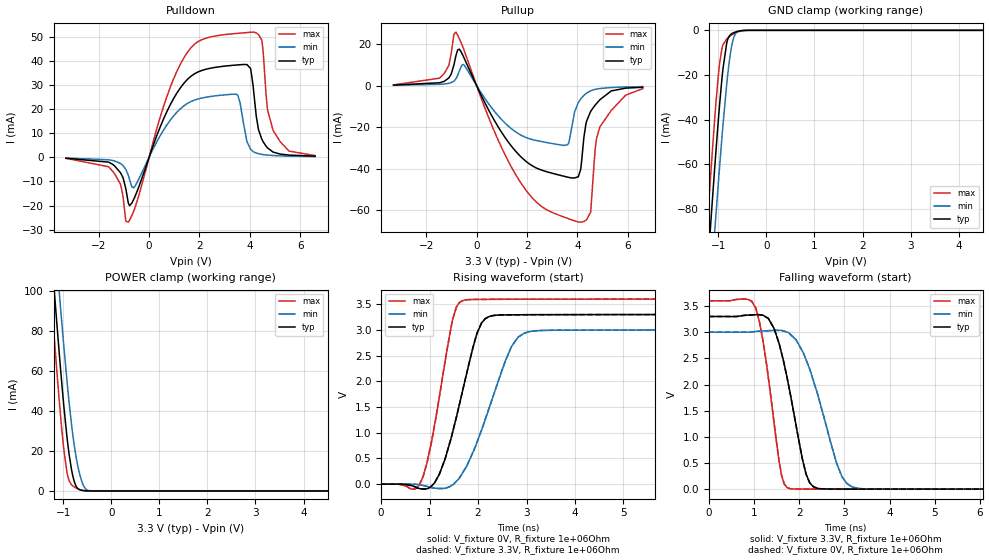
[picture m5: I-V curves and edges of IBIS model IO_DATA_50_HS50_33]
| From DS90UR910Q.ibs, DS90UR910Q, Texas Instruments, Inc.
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|   Model IO_DATA_50_HS50_33
[Model]  IO_DATA_50_HS50_33
Model_type   I/O
Polarity   Non-Inverting
Enable   Active-Low
Vinl =   0.8
Vinh =   2.0
Vmeas = 1.5000V
|   typ   min   max
|   (nom)   (fast)   (slow)
C_comp   0.7658pF   0.7658pF   1.107pF|
[Temperature Range]   25.0000   105.000   -40.0000
[Voltage Range]   3.3000V   3.0000V   3.6000V
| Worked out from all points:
|   slope of the pulldown table from 0 to 0.495 V, typ, clamps not added: 35.6 ohm
|   slope of the pullup table from 0 to 0.495 V, typ, clamps not added: 40.7 ohm
|   GND clamp passes 1 mA (typ) near -0.67 V on its own axis
|   POWER clamp passes 1 mA (typ) near -0.68 V on its own axis
|   falling waveform, V_fixture 3.3V, R_fixture 1e+06Ohm: 20-80 % time 454ps typ, 607ps min, 337ps max; typ from 3.3 V to 0 V
|   rising waveform, V_fixture 0V, R_fixture 1e+06Ohm: 20-80 % time 518ps typ, 680ps min, 393ps max; typ from 0 V to 3.3 V
|   rising waveform, V_fixture 3.3V, R_fixture 1e+06Ohm: 20-80 % time 518ps typ, 680ps min, 393ps max; typ from 0 V to 3.3 V
|   falling waveform, V_fixture 0V, R_fixture 1e+06Ohm: 20-80 % time 454ps typ, 607ps min, 337ps max; typ from 3.3 V to 0 V
[Pulldown]
|   Voltage   I(typ)   I(min)   I(max)
-3.3V     -398.6uA   -308.4uA   -441.5uA
-1.607V   -2.008mA   -1.038mA   -3.915mA
-1.142V   -6.34mA    -2.537mA   -11.03mA
-825mV    -19.01mA   -7.459mA   -26.88mA
-597.3mV  -17.1mA    -12.5mA    -21.91mA
1.472V    31.7mA     21.95mA    42.69mA
3.472V    38.2mA     26.05mA    51.26mA
4.125V    29.83mA    2.412mA    51.83mA
4.471V    7.548mA    1.199mA    48.51mA
4.699V    3.892mA    904.3uA    19.71mA
4.917V    2.181mA    733.2uA    11.27mA
6.59V     463.1uA    300.8uA    707.4uA
[GND Clamp]
|   Voltage   I(typ)   I(min)   I(max)
-3.3V     -797.8mA   -802.3mA   -798.9mA
-1.231V   -109.3mA   -136.9mA   -87.72mA
-1.201V   -99.97mA   -127.8mA   -78.2mA
-1.122V   -75.61mA   -104mA     -53.52mA
-1.073V   -60.86mA   -89.38mA   -38.97mA
-983.4mV  -35.94mA   -63.89mA   -16.79mA
-904.2mV  -17.38mA   -42.71mA   -6.495mA
-815.1mV  -4.825mA   -22.04mA   -3.687mA
-735.9mV  -1.733mA   -8.725mA   -2.326mA
-676.5mV  -1.028mA   -3.116mA   -1.513mA
-409.2mV  -15.42uA   -13.48uA   -30.67uA
6.59V     0A         0A         0A
[Pullup]
|   Voltage   I(typ)   I(min)   I(max)
-3.3V     325uA      225.8uA    411.8uA
-1.468V   1.438mA    671.4uA    3.669mA
-825mV    14.44mA    3.308mA    25.83mA
-508.2mV  13.57mA    10.06mA    17.31mA
1.739V    -34mA      -23.65mA   -46.49mA
3.61V     -43.98mA   -28.38mA   -63.84mA
4.125V    -40.43mA   -6.45mA    -65.66mA
4.333V    -18.57mA   -3.808mA   -64.75mA
4.521V    -12.43mA   -2.449mA   -60.87mA
4.709V    -9.237mA   -1.735mA   -29.82mA
4.897V    -6.664mA   -1.33mA    -19.66mA
6.59V     -713.8uA   -421.6uA   -1.399mA
[POWER Clamp]
|   Voltage   I(typ)   I(min)   I(max)
-3.3V     802.5mA    808.9mA    802mA
-1.31V    139.8mA    168.7mA    117.3mA
-1.231V   114.8mA    144.4mA    91.52mA
-1.211V   108.6mA    138.4mA    85.16mA
-1.132V   84.2mA     114.6mA    60.34mA
-1.082V   69.45mA    100mA      45.61mA
-924mV    27.79mA    56.17mA    9.883mA
-795.3mV  7.174mA    27.45mA    2.45mA
-656.7mV  613.2uA    8.486mA    694.4uA
-547.8mV  99.32uA    1.452mA    115.9uA
-409.2mV  3.688uA    30.95uA    3.022uA
6.59V     0A         0A         0A
[Ramp]
R_load = 1e+06
|   typ   min   max
dV/dt_r   1.97978/5.1816e-10   1.79965/6.79662e-10   2.15988/3.93384e-10
dV/dt_f   1.97979/4.53788e-10   1.79966/6.07164e-10   2.15989/3.36704e-10
[Falling Waveform]
V_fixture = 3.3V
V_fixture_min = 3V
V_fixture_max = 3.6V
R_fixture = 1e+06Ohm
C_fixture = 0F
|   Time   V(typ)   V(min)   V(max)
0s        3.3V       3V         3.6V
1.041ns   3.334V     3.014V     3.461V
1.208ns   3.321V     3.024V     2.799V
1.447ns   3.071V     3.034V     1.262V
1.611ns   2.602V     3.033V     265.3mV
1.731ns   2.145V     3.002V     33.39mV
2.235ns   121.1mV    2.294V     1.926mV
2.827ns   2.286mV    503.7mV    1.157mV
3.176ns   1.668mV    41.87mV    915uV
10.05ns   193.1uV    272.6uV    94.54uV
[Rising Waveform]
V_fixture = 0V
V_fixture_min = 0V
V_fixture_max = 0V
R_fixture = 1e+06Ohm
C_fixture = 0F
|   Time   V(typ)   V(min)   V(max)
0s        85.23uV    137.2uV    15.28uV
801.3ps   -86.42mV   -13.68mV   6.187mV
949ps     -86.52mV   -44.02mV   422.8mV
1.203ns   195.9mV    -84.71mV   1.704V
1.471ns   993.1mV    -15.88mV   3.183V
1.671ns   1.772V     202.9mV    3.566V
2.073ns   3.137V     1.054V     3.594V
2.691ns   3.293V     2.679V     3.596V
2.948ns   3.295V     2.935V     3.597V
10.05ns   3.3V       3V         3.6V
[Rising Waveform]
V_fixture = 3.3V
V_fixture_min = 3V
V_fixture_max = 3.6V
R_fixture = 1e+06Ohm
C_fixture = 0F
|   Time   V(typ)   V(min)   V(max)
0s        192.6uV    277.5uV    102.7uV
801.3ps   -85.91mV   -13.52mV   7.155mV
949ps     -85.56mV   -43.75mV   424mV
1.203ns   197.3mV    -83.83mV   1.705V
1.471ns   994.8mV    -14.38mV   3.184V
1.671ns   1.774V     204.8mV    3.566V
2.073ns   3.137V     1.056V     3.594V
2.691ns   3.293V     2.68V      3.597V
2.948ns   3.295V     2.936V     3.597V
10.05ns   3.3V       3V         3.6V
[Falling Waveform]
|Gnd
V_fixture = 0V
V_fixture_min = 0V
V_fixture_max = 0V
R_fixture = 1e+06Ohm
C_fixture = 0F
|   Time   V(typ)   V(min)   V(max)
0s        3.3V       3V         3.6V
1.041ns   3.334V     3.014V     3.46V
1.208ns   3.321V     3.024V     2.798V
1.447ns   3.07V      3.033V     1.261V
1.611ns   2.601V     3.033V     264.4mV
1.731ns   2.143V     3.002V     33.08mV
2.235ns   120.5mV    2.293V     1.791mV
2.827ns   2.096mV    502mV      1.045mV
3.176ns   1.536mV    41.36mV    810.4uV
10.05ns   85.76uV    132.5uV    7.134uV
